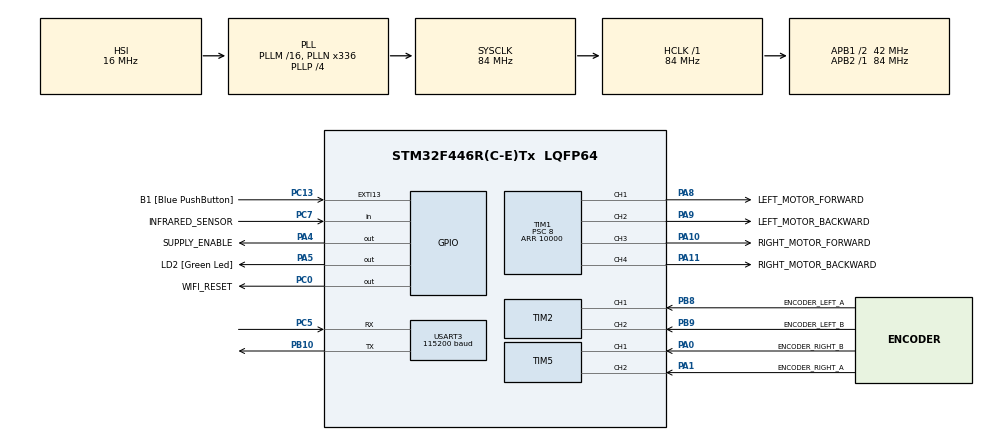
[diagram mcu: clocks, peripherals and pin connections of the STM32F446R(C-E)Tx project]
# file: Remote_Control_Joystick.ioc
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Mcu.Family=STM32F4
PH0-OSC_IN.Signal=RCC_OSC_IN
VP_SYS_VS_tim6.Mode=TIM6
Dma.USART3_RX.0.PeriphInc=DMA_PINC_DISABLE
SH.S_TIM1_CH4.0=TIM1_CH4,PWM Generation4 CH4
RCC.CortexFreq_Value=84000000
PB10.Mode=Asynchronous
NVIC.TIM6_DAC_IRQn=true\:0\:0\:false\:false\:true\:false\:false\:true
Dma.USART3_TX.1.MemInc=DMA_MINC_ENABLE
PA14.GPIO_Label=TCK
Dma.USART3_TX.1.PeriphDataAlignment=DMA_PDATAALIGN_BYTE
SH.S_TIM5_CH2.0=TIM5_CH2,Encoder_Interface
PC0.GPIO_Label=WIFI_RESET
Dma.USART3_TX.1.Instance=DMA1_Stream3
PC5.Mode=Asynchronous
PC13.GPIO_Label=B1 [Blue PushButton]
RCC.SYSCLKSource=RCC_SYSCLKSOURCE_PLLCLK
ProjectManager.StackSize=0x400
VP_FREERTOS_VS_CMSIS_V2.Mode=CMSIS_V2
TIM1.Prescaler=8
USART3.BaudRate=115200
TIM1.Channel-PWM\ Generation4\ CH4=TIM_CHANNEL_4
RCC.HCLKFreq_Value=84000000
RCC.APB2TimFreq_Value=84000000
TIM3.Period=1000-1
PC7.Signal=GPIO_Input
RCC.AHBFreq_Value=84000000
PH0-OSC_IN.Mode=HSE-External-Oscillator
RCC.HSE_VALUE=8000000
Dma.USART3_RX.0.MemDataAlignment=DMA_MDATAALIGN_BYTE
PA4.GPIO_PuPd=GPIO_NOPULL
Dma.USART3_TX.1.Mode=DMA_NORMAL
PC14-OSC32_IN.Mode=LSE-External-Oscillator
TIM1.Channel-PWM\ Generation1\ CH1=TIM_CHANNEL_1
PA14.Mode=Serial_Wire
TIM3.Prescaler=840-1
PA10.GPIO_Label=RIGHT_MOTOR_FORWARD
Dma.USART3_RX.0.PeriphDataAlignment=DMA_PDATAALIGN_BYTE
PC13.GPIO_PuPd=GPIO_NOPULL
Dma.USART3_RX.0.FIFOMode=DMA_FIFOMODE_DISABLE
PA8.Signal=S_TIM1_CH1
TIM5.IC1Filter=15
Dma.USART3_TX.1.FIFOMode=DMA_FIFOMODE_DISABLE
Dma.USART3_TX.1.Priority=DMA_PRIORITY_HIGH
RCC.FLatency-AdvancedSettings=FLASH_LATENCY_2
PH1-OSC_OUT.Mode=HSE-External-Oscillator
Dma.USART3_RX.0.Direction=DMA_PERIPH_TO_MEMORY
PB9.Signal=S_TIM2_CH2
Mcu.Package=LQFP64
NVIC.TimeBase=TIM6_DAC_IRQn
PA2.GPIO_Label=USART_TX
NVIC.TimeBaseIP=TIM6
PA10.Signal=S_TIM1_CH3
PA15.Signal=UART4_RTS
Dma.USART3_RX.0.MemInc=DMA_MINC_ENABLE
Dma.Request1=USART3_TX
RCC.APB1TimFreq_Value=84000000
SH.S_TIM5_CH1.0=TIM5_CH1,Encoder_Interface
PC5.Signal=USART3_RX
TIM1.Period=10000
Dma.USART3_TX.1.PeriphInc=DMA_PINC_DISABLE
PC0.GPIO_PuPd=GPIO_NOPULL
Dma.Request0=USART3_RX
PA4.GPIO_Label=SUPPLY_ENABLE
VP_TIM3_VS_ClockSourceINT.Mode=Internal
PA3.Signal=USART2_RX
PB3.GPIO_Label=SWO
Dma.USART3_RX.0.Instance=DMA1_Stream1
PC15-OSC32_OUT.Mode=LSE-External-Oscillator
Dma.USART3_TX.1.MemDataAlignment=DMA_MDATAALIGN_BYTE
TIM5.IC2Filter=15
FREERTOS.Tasks01=DiffDrive,48,128,MoveDifferentialDrive,Default,NULL,Dynamic,NULL,NULL;Communication,48,128,SerialCommunication,Default,NULL,Dynamic,NULL,NULL;InfraredSens,48,128,InfraredSensor,Default,NULL,Dynamic,NULL,NULL
PB9.GPIO_Label=ENCODER_LEFT_B
TIM2.IC1Filter=15
PC13.Signal=GPXTI13
PA9.GPIO_Label=LEFT_MOTOR_BACKWARD
PA11.GPIO_Label=RIGHT_MOTOR_BACKWARD
NVIC.DMA1_Stream1_IRQn=true\:5\:0\:false\:false\:true\:true\:false\:true
PC0.Signal=GPIO_Output
RCC.APB1CLKDivider=RCC_HCLK_DIV2
PC14-OSC32_IN.Signal=RCC_OSC32_IN
PA0-WKUP.GPIO_Label=ENCODER_RIGHT_B
Dma.USART3_RX.0.Mode=DMA_NORMAL
PA0-WKUP.Signal=S_TIM5_CH1
PA13.Signal=SYS_JTMS-SWDIO
PB8.GPIO_Label=ENCODER_LEFT_A
SH.S_TIM2_CH2.0=TIM2_CH2,Encoder_Interface
PA8.GPIO_Label=LEFT_MOTOR_FORWARD
SH.S_TIM1_CH1.0=TIM1_CH1,PWM Generation1 CH1
ProjectManager.TargetToolchain=STM32CubeIDE
PA9.Signal=S_TIM1_CH2
TIM1.Channel-PWM\ Generation2\ CH2=TIM_CHANNEL_2
RCC.USBFreq_Value=168000000
PC15-OSC32_OUT.Signal=RCC_OSC32_OUT
PA1.Signal=S_TIM5_CH2
PB10.Signal=USART3_TX
PA5.Signal=GPIO_Output
board=NUCLEO-F446RE
RCC.VCOOutputFreq_Value=336000000
NVIC.TIM3_IRQn=true\:5\:0\:false\:false\:true\:true\:true\:true
RCC.APB2Freq_Value=84000000
SH.S_TIM1_CH2.0=TIM1_CH2,PWM Generation2 CH2
PA1.GPIO_Label=ENCODER_RIGHT_A
PH1-OSC_OUT.Signal=RCC_OSC_OUT
PA13.Mode=Serial_Wire
Mcu.Name=STM32F446R(C-E)Tx
PA13.GPIO_Label=TMS
PA2.Signal=USART2_TX
PC7.GPIO_Label=INFRARED_SENSOR
RCC.48MHZClocksFreq_Value=84000000
PB3.Signal=SYS_JTDO-SWO
PA4.Signal=GPIO_Output
RCC.SYSCLKFreq_VALUE=84000000
Dma.USART3_RX.0.Priority=DMA_PRIORITY_HIGH
PA5.GPIO_Label=LD2 [Green Led]
PC13.GPIO_ModeDefaultEXTI=GPIO_MODE_IT_FALLING
USART3.VirtualMode=VM_ASYNC
PA11.Signal=S_TIM1_CH4
SH.S_TIM2_CH1_ETR.0=TIM2_CH1,Encoder_Interface
PA14.Signal=SYS_JTCK-SWCLK
ProjectManager.HeapSize=0x200
SH.S_TIM1_CH3.0=TIM1_CH3,PWM Generation3 CH3
RCC.HSI_VALUE=16000000
RCC.PLLP=RCC_PLLP_DIV4
NVIC.PriorityGroup=NVIC_PRIORITYGROUP_4
Dma.USART3_TX.1.Direction=DMA_MEMORY_TO_PERIPH
RCC.PLLN=336
PB8.Signal=S_TIM2_CH1_ETR
NVIC.DMA1_Stream3_IRQn=true\:5\:0\:false\:false\:true\:true\:false\:true
TIM1.Channel-PWM\ Generation3\ CH3=TIM_CHANNEL_3
RCC.APB1Freq_Value=42000000
TIM2.IC2Filter=15
PA3.GPIO_Label=USART_RX

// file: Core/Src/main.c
/* USER CODE BEGIN Header */
/**
  ******************************************************************************
  * @file           : main.c
  * @brief          : Main program body
  ******************************************************************************
  * @attention
  *
  * <h2><center>&copy; Copyright (c) 2021 STMicroelectronics.
  * All rights reserved.</center></h2>
  *
  * This software component is licensed by ST under BSD 3-Clause license,
  * the "License"; You may not use this file except in compliance with the
  * License. You may obtain a copy of the License at:
  *                        opensource.org/licenses/BSD-3-Clause
  *
  ******************************************************************************
  */
/* USER CODE END Header */
#include "main.h"
#include "cmsis_os.h"

/* USER CODE BEGIN Includes */

#include "my_lib/differential_drive.h"
#include "my_lib/retarget.h"
#include "my_lib/datastream.h"
#include "my_lib/datastream_utils.h"
#include "my_lib/digital_filters.h"

#include "my_data/identification.h"

#include <stdio.h>
#include <stdlib.h>

/* USER CODE END Includes */

TIM_HandleTypeDef htim1;
TIM_HandleTypeDef htim2;
TIM_HandleTypeDef htim3;
TIM_HandleTypeDef htim5;

UART_HandleTypeDef huart3;
DMA_HandleTypeDef hdma_usart3_rx;
DMA_HandleTypeDef hdma_usart3_tx;

/* Definitions for DiffDrive */
osThreadId_t DiffDriveHandle;
const osThreadAttr_t DiffDrive_attributes = {
  .name = "DiffDrive",
  .stack_size = 128 * 4,
  .priority = (osPriority_t) osPriorityRealtime,
};
/* Definitions for Communication */
osThreadId_t CommunicationHandle;
const osThreadAttr_t Communication_attributes = {
  .name = "Communication",
  .stack_size = 128 * 4,
  .priority = (osPriority_t) osPriorityRealtime,
};
/* Definitions for InfraredSens */
osThreadId_t InfraredSensHandle;
const osThreadAttr_t InfraredSens_attributes = {
  .name = "InfraredSens",
  .stack_size = 128 * 4,
  .priority = (osPriority_t) osPriorityRealtime,
};
/* USER CODE BEGIN PV */

DIFFDRIVE_HandleTypeDef hdiffdrive;
MAF_HandleTypeDef hfilter_a, hfilter_th, hfilter_infrared;

/* USER CODE END PV */

void SystemClock_Config(void);
static void MX_GPIO_Init(void);
static void MX_DMA_Init(void);
static void MX_TIM2_Init(void);
static void MX_TIM1_Init(void);
static void MX_TIM3_Init(void);
static void MX_TIM5_Init(void);
static void MX_USART3_UART_Init(void);
void MoveDifferentialDrive(void *argument);
void SerialCommunication(void *argument);
void InfraredSensor(void *argument);

/* USER CODE BEGIN PFP */

static void MAIN_DIFFDRIVE_Init(void);
static void MAIN_MAF_Init(void);

/* USER CODE END PFP */

/* USER CODE BEGIN 0 */

int x_val=0, y_val=0, x_val_prev=0, y_val_prev=0;

/* USER CODE END 0 */

int main(void)
{

  /* MCU Configuration--------------------------------------------------------*/

  /* Reset of all peripherals, Initializes the Flash interface and the Systick. */
  HAL_Init();

  /* Configure the system clock */
  SystemClock_Config();

  /* Initialize all configured peripherals */
  MX_GPIO_Init();
  MX_DMA_Init();
  MX_TIM2_Init();
  MX_TIM1_Init();
  MX_TIM3_Init();
  MX_TIM5_Init();
  MX_USART3_UART_Init();
  /* USER CODE BEGIN 2 */

  MAIN_DIFFDRIVE_Init();
  MAIN_MAF_Init();

  // Using the flag "wait_button" to start MCU with WIFI disabled
  // if blue button is pressed during reset. It's useful to avoid
  // battery leakage
  bool wait_for_button= false;
  if( !HAL_GPIO_ReadPin(B1_GPIO_Port, B1_Pin) ){
   	wait_for_button= true;
   	// Show pressed button
   	while( !HAL_GPIO_ReadPin(B1_GPIO_Port, B1_Pin) ){
   		HAL_GPIO_TogglePin(LD2_GPIO_Port, LD2_Pin);
   		HAL_Delay(50);
   	}
   	// Turn off LED
   	HAL_GPIO_WritePin(LD2_GPIO_Port, LD2_Pin, GPIO_PIN_RESET);
   	// Debouncing released button
   	HAL_Delay(1000);
  }

  // Reset ESP-8266
  HAL_GPIO_WritePin(WIFI_RESET_GPIO_Port, WIFI_RESET_Pin, GPIO_PIN_RESET);

  // Wait for blue button if this option is on
  if( wait_for_button )
	  while( HAL_GPIO_ReadPin(B1_GPIO_Port, B1_Pin) )
		  	  ;

  HAL_Delay(1000);

  // Start ESP
  HAL_GPIO_WritePin(WIFI_RESET_GPIO_Port, WIFI_RESET_Pin, GPIO_PIN_SET);

  // Wait a bit for ESP initialization
  HAL_Delay(3000);

  // Keep LED on to show that data transfer is down
  HAL_GPIO_WritePin(LD2_GPIO_Port, LD2_Pin, GPIO_PIN_RESET);

  /* USER CODE END 2 */

  /* Init scheduler */
  osKernelInitialize();

  /* Create the thread(s) */
  /* creation of DiffDrive */
  DiffDriveHandle = osThreadNew(MoveDifferentialDrive, NULL, &DiffDrive_attributes);

  /* creation of Communication */
  CommunicationHandle = osThreadNew(SerialCommunication, NULL, &Communication_attributes);

  /* creation of InfraredSens */
  InfraredSensHandle = osThreadNew(InfraredSensor, NULL, &InfraredSens_attributes);

  /* Start scheduler */
  osKernelStart();

  /* We should never get here as control is now taken by the scheduler */
  /* Infinite loop */
  while (1)
  {

  }
}

void SystemClock_Config(void)
{
  RCC_OscInitTypeDef RCC_OscInitStruct = {0};
  RCC_ClkInitTypeDef RCC_ClkInitStruct = {0};

  /** Configure the main internal regulator output voltage
  */
  __HAL_RCC_PWR_CLK_ENABLE();
  __HAL_PWR_VOLTAGESCALING_CONFIG(PWR_REGULATOR_VOLTAGE_SCALE3);
  /** Initializes the RCC Oscillators according to the specified parameters
  * in the RCC_OscInitTypeDef structure.
  */
  RCC_OscInitStruct.OscillatorType = RCC_OSCILLATORTYPE_HSI;
  RCC_OscInitStruct.HSIState = RCC_HSI_ON;
  RCC_OscInitStruct.HSICalibrationValue = RCC_HSICALIBRATION_DEFAULT;
  RCC_OscInitStruct.PLL.PLLState = RCC_PLL_ON;
  RCC_OscInitStruct.PLL.PLLSource = RCC_PLLSOURCE_HSI;
  RCC_OscInitStruct.PLL.PLLM = 16;
  RCC_OscInitStruct.PLL.PLLN = 336;
  RCC_OscInitStruct.PLL.PLLP = RCC_PLLP_DIV4;
  RCC_OscInitStruct.PLL.PLLQ = 2;
  RCC_OscInitStruct.PLL.PLLR = 2;
  if (HAL_RCC_OscConfig(&RCC_OscInitStruct) != HAL_OK)
  {
    Error_Handler();
  }
  /** Initializes the CPU, AHB and APB buses clocks
  */
  RCC_ClkInitStruct.ClockType = RCC_CLOCKTYPE_HCLK|RCC_CLOCKTYPE_SYSCLK
                              |RCC_CLOCKTYPE_PCLK1|RCC_CLOCKTYPE_PCLK2;
  RCC_ClkInitStruct.SYSCLKSource = RCC_SYSCLKSOURCE_PLLCLK;
  RCC_ClkInitStruct.AHBCLKDivider = RCC_SYSCLK_DIV1;
  RCC_ClkInitStruct.APB1CLKDivider = RCC_HCLK_DIV2;
  RCC_ClkInitStruct.APB2CLKDivider = RCC_HCLK_DIV1;

  if (HAL_RCC_ClockConfig(&RCC_ClkInitStruct, FLASH_LATENCY_2) != HAL_OK)
  {
    Error_Handler();
  }
}

static void MX_TIM1_Init(void)
{

  TIM_MasterConfigTypeDef sMasterConfig = {0};
  TIM_OC_InitTypeDef sConfigOC = {0};
  TIM_BreakDeadTimeConfigTypeDef sBreakDeadTimeConfig = {0};

  htim1.Instance = TIM1;
  htim1.Init.Prescaler = 8;
  htim1.Init.CounterMode = TIM_COUNTERMODE_UP;
  htim1.Init.Period = 10000;
  htim1.Init.ClockDivision = TIM_CLOCKDIVISION_DIV1;
  htim1.Init.RepetitionCounter = 0;
  htim1.Init.AutoReloadPreload = TIM_AUTORELOAD_PRELOAD_DISABLE;
  if (HAL_TIM_PWM_Init(&htim1) != HAL_OK)
  {
    Error_Handler();
  }
  sMasterConfig.MasterOutputTrigger = TIM_TRGO_RESET;
  sMasterConfig.MasterSlaveMode = TIM_MASTERSLAVEMODE_DISABLE;
  if (HAL_TIMEx_MasterConfigSynchronization(&htim1, &sMasterConfig) != HAL_OK)
  {
    Error_Handler();
  }
  sConfigOC.OCMode = TIM_OCMODE_PWM1;
  sConfigOC.Pulse = 0;
  sConfigOC.OCPolarity = TIM_OCPOLARITY_HIGH;
  sConfigOC.OCNPolarity = TIM_OCNPOLARITY_HIGH;
  sConfigOC.OCFastMode = TIM_OCFAST_DISABLE;
  sConfigOC.OCIdleState = TIM_OCIDLESTATE_RESET;
  sConfigOC.OCNIdleState = TIM_OCNIDLESTATE_RESET;
  if (HAL_TIM_PWM_ConfigChannel(&htim1, &sConfigOC, TIM_CHANNEL_1) != HAL_OK)
  {
    Error_Handler();
  }
  if (HAL_TIM_PWM_ConfigChannel(&htim1, &sConfigOC, TIM_CHANNEL_2) != HAL_OK)
  {
    Error_Handler();
  }
  if (HAL_TIM_PWM_ConfigChannel(&htim1, &sConfigOC, TIM_CHANNEL_3) != HAL_OK)
  {
    Error_Handler();
  }
  if (HAL_TIM_PWM_ConfigChannel(&htim1, &sConfigOC, TIM_CHANNEL_4) != HAL_OK)
  {
    Error_Handler();
  }
  sBreakDeadTimeConfig.OffStateRunMode = TIM_OSSR_DISABLE;
  sBreakDeadTimeConfig.OffStateIDLEMode = TIM_OSSI_DISABLE;
  sBreakDeadTimeConfig.LockLevel = TIM_LOCKLEVEL_OFF;
  sBreakDeadTimeConfig.DeadTime = 0;
  sBreakDeadTimeConfig.BreakState = TIM_BREAK_DISABLE;
  sBreakDeadTimeConfig.BreakPolarity = TIM_BREAKPOLARITY_HIGH;
  sBreakDeadTimeConfig.AutomaticOutput = TIM_AUTOMATICOUTPUT_DISABLE;
  if (HAL_TIMEx_ConfigBreakDeadTime(&htim1, &sBreakDeadTimeConfig) != HAL_OK)
  {
    Error_Handler();
  }
  HAL_TIM_MspPostInit(&htim1);

}

static void MX_TIM2_Init(void)
{

  TIM_Encoder_InitTypeDef sConfig = {0};
  TIM_MasterConfigTypeDef sMasterConfig = {0};

  htim2.Instance = TIM2;
  htim2.Init.Prescaler = 0;
  htim2.Init.CounterMode = TIM_COUNTERMODE_UP;
  htim2.Init.Period = 4294967295;
  htim2.Init.ClockDivision = TIM_CLOCKDIVISION_DIV1;
  htim2.Init.AutoReloadPreload = TIM_AUTORELOAD_PRELOAD_DISABLE;
  sConfig.EncoderMode = TIM_ENCODERMODE_TI1;
  sConfig.IC1Polarity = TIM_ICPOLARITY_RISING;
  sConfig.IC1Selection = TIM_ICSELECTION_DIRECTTI;
  sConfig.IC1Prescaler = TIM_ICPSC_DIV1;
  sConfig.IC1Filter = 15;
  sConfig.IC2Polarity = TIM_ICPOLARITY_RISING;
  sConfig.IC2Selection = TIM_ICSELECTION_DIRECTTI;
  sConfig.IC2Prescaler = TIM_ICPSC_DIV1;
  sConfig.IC2Filter = 15;
  if (HAL_TIM_Encoder_Init(&htim2, &sConfig) != HAL_OK)
  {
    Error_Handler();
  }
  sMasterConfig.MasterOutputTrigger = TIM_TRGO_RESET;
  sMasterConfig.MasterSlaveMode = TIM_MASTERSLAVEMODE_DISABLE;
  if (HAL_TIMEx_MasterConfigSynchronization(&htim2, &sMasterConfig) != HAL_OK)
  {
    Error_Handler();
  }

}

static void MX_TIM3_Init(void)
{

  TIM_ClockConfigTypeDef sClockSourceConfig = {0};
  TIM_MasterConfigTypeDef sMasterConfig = {0};

  htim3.Instance = TIM3;
  htim3.Init.Prescaler = 840-1;
  htim3.Init.CounterMode = TIM_COUNTERMODE_UP;
  htim3.Init.Period = 1000-1;
  htim3.Init.ClockDivision = TIM_CLOCKDIVISION_DIV1;
  htim3.Init.AutoReloadPreload = TIM_AUTORELOAD_PRELOAD_DISABLE;
  if (HAL_TIM_Base_Init(&htim3) != HAL_OK)
  {
    Error_Handler();
  }
  sClockSourceConfig.ClockSource = TIM_CLOCKSOURCE_INTERNAL;
  if (HAL_TIM_ConfigClockSource(&htim3, &sClockSourceConfig) != HAL_OK)
  {
    Error_Handler();
  }
  sMasterConfig.MasterOutputTrigger = TIM_TRGO_RESET;
  sMasterConfig.MasterSlaveMode = TIM_MASTERSLAVEMODE_DISABLE;
  if (HAL_TIMEx_MasterConfigSynchronization(&htim3, &sMasterConfig) != HAL_OK)
  {
    Error_Handler();
  }

}

static void MX_TIM5_Init(void)
{

  TIM_Encoder_InitTypeDef sConfig = {0};
  TIM_MasterConfigTypeDef sMasterConfig = {0};

  htim5.Instance = TIM5;
  htim5.Init.Prescaler = 0;
  htim5.Init.CounterMode = TIM_COUNTERMODE_UP;
  htim5.Init.Period = 4294967295;
  htim5.Init.ClockDivision = TIM_CLOCKDIVISION_DIV1;
  htim5.Init.AutoReloadPreload = TIM_AUTORELOAD_PRELOAD_DISABLE;
  sConfig.EncoderMode = TIM_ENCODERMODE_TI1;
  sConfig.IC1Polarity = TIM_ICPOLARITY_RISING;
  sConfig.IC1Selection = TIM_ICSELECTION_DIRECTTI;
  sConfig.IC1Prescaler = TIM_ICPSC_DIV1;
  sConfig.IC1Filter = 15;
  sConfig.IC2Polarity = TIM_ICPOLARITY_RISING;
  sConfig.IC2Selection = TIM_ICSELECTION_DIRECTTI;
  sConfig.IC2Prescaler = TIM_ICPSC_DIV1;
  sConfig.IC2Filter = 15;
  if (HAL_TIM_Encoder_Init(&htim5, &sConfig) != HAL_OK)
  {
    Error_Handler();
  }
  sMasterConfig.MasterOutputTrigger = TIM_TRGO_RESET;
  sMasterConfig.MasterSlaveMode = TIM_MASTERSLAVEMODE_DISABLE;
  if (HAL_TIMEx_MasterConfigSynchronization(&htim5, &sMasterConfig) != HAL_OK)
  {
    Error_Handler();
  }

}

static void MX_USART3_UART_Init(void)
{

  huart3.Instance = USART3;
  huart3.Init.BaudRate = 115200;
  huart3.Init.WordLength = UART_WORDLENGTH_8B;
  huart3.Init.StopBits = UART_STOPBITS_1;
  huart3.Init.Parity = UART_PARITY_NONE;
  huart3.Init.Mode = UART_MODE_TX_RX;
  huart3.Init.HwFlowCtl = UART_HWCONTROL_NONE;
  huart3.Init.OverSampling = UART_OVERSAMPLING_16;
  if (HAL_UART_Init(&huart3) != HAL_OK)
  {
    Error_Handler();
  }

}

static void MX_DMA_Init(void)
{

  /* DMA controller clock enable */
  __HAL_RCC_DMA1_CLK_ENABLE();

  /* DMA interrupt init */
  /* DMA1_Stream1_IRQn interrupt configuration */
  HAL_NVIC_SetPriority(DMA1_Stream1_IRQn, 5, 0);
  HAL_NVIC_EnableIRQ(DMA1_Stream1_IRQn);
  /* DMA1_Stream3_IRQn interrupt configuration */
  HAL_NVIC_SetPriority(DMA1_Stream3_IRQn, 5, 0);
  HAL_NVIC_EnableIRQ(DMA1_Stream3_IRQn);

}

static void MX_GPIO_Init(void)
{
  GPIO_InitTypeDef GPIO_InitStruct = {0};

  /* GPIO Ports Clock Enable */
  __HAL_RCC_GPIOC_CLK_ENABLE();
  __HAL_RCC_GPIOH_CLK_ENABLE();
  __HAL_RCC_GPIOA_CLK_ENABLE();
  __HAL_RCC_GPIOB_CLK_ENABLE();

  /*Configure GPIO pin Output Level */
  HAL_GPIO_WritePin(WIFI_RESET_GPIO_Port, WIFI_RESET_Pin, GPIO_PIN_RESET);

  /*Configure GPIO pin Output Level */
  HAL_GPIO_WritePin(GPIOA, SUPPLY_ENABLE_Pin|LD2_Pin, GPIO_PIN_RESET);

  /*Configure GPIO pin : B1_Pin */
  GPIO_InitStruct.Pin = B1_Pin;
  GPIO_InitStruct.Mode = GPIO_MODE_IT_FALLING;
  GPIO_InitStruct.Pull = GPIO_NOPULL;
  HAL_GPIO_Init(B1_GPIO_Port, &GPIO_InitStruct);

  /*Configure GPIO pin : WIFI_RESET_Pin */
  GPIO_InitStruct.Pin = WIFI_RESET_Pin;
  GPIO_InitStruct.Mode = GPIO_MODE_OUTPUT_PP;
  GPIO_InitStruct.Pull = GPIO_NOPULL;
  GPIO_InitStruct.Speed = GPIO_SPEED_FREQ_LOW;
  HAL_GPIO_Init(WIFI_RESET_GPIO_Port, &GPIO_InitStruct);

  /*Configure GPIO pins : USART_TX_Pin USART_RX_Pin */
  GPIO_InitStruct.Pin = USART_TX_Pin|USART_RX_Pin;
  GPIO_InitStruct.Mode = GPIO_MODE_AF_PP;
  GPIO_InitStruct.Pull = GPIO_NOPULL;
  GPIO_InitStruct.Speed = GPIO_SPEED_FREQ_VERY_HIGH;
  GPIO_InitStruct.Alternate = GPIO_AF7_USART2;
  HAL_GPIO_Init(GPIOA, &GPIO_InitStruct);

  /*Configure GPIO pins : SUPPLY_ENABLE_Pin LD2_Pin */
  GPIO_InitStruct.Pin = SUPPLY_ENABLE_Pin|LD2_Pin;
  GPIO_InitStruct.Mode = GPIO_MODE_OUTPUT_PP;
  GPIO_InitStruct.Pull = GPIO_NOPULL;
  GPIO_InitStruct.Speed = GPIO_SPEED_FREQ_LOW;
  HAL_GPIO_Init(GPIOA, &GPIO_InitStruct);

  /*Configure GPIO pin : INFRARED_SENSOR_Pin */
  GPIO_InitStruct.Pin = INFRARED_SENSOR_Pin;
  GPIO_InitStruct.Mode = GPIO_MODE_INPUT;
  GPIO_InitStruct.Pull = GPIO_NOPULL;
  HAL_GPIO_Init(INFRARED_SENSOR_GPIO_Port, &GPIO_InitStruct);

  /*Configure GPIO pin : PA15 */
  GPIO_InitStruct.Pin = GPIO_PIN_15;
  GPIO_InitStruct.Mode = GPIO_MODE_AF_PP;
  GPIO_InitStruct.Pull = GPIO_NOPULL;
  GPIO_InitStruct.Speed = GPIO_SPEED_FREQ_VERY_HIGH;
  GPIO_InitStruct.Alternate = GPIO_AF8_UART4;
  HAL_GPIO_Init(GPIOA, &GPIO_InitStruct);

}

/* USER CODE BEGIN 4 */

static void MAIN_DIFFDRIVE_Init(void){

	float Ts= 0.01;
	int max_sample= 1400;

	hdiffdrive.Init.timing_htim= &htim3;
	hdiffdrive.Init.timing_time_step= Ts;

	hdiffdrive.Init.encoder_htim[left ]= &htim2;
	hdiffdrive.Init.encoder_htim[right]= &htim5;
	hdiffdrive.Init.encoder_channel[left ]= TIM_CHANNEL_1;
	hdiffdrive.Init.encoder_channel[right]= TIM_CHANNEL_1;

	hdiffdrive.Init.encoder_resolution[left ]= 1900; //1920; // Number of step each wheel revolution
	hdiffdrive.Init.encoder_resolution[right]= 1900; //1920;

	hdiffdrive.Init.motor_htim[left ][forward ]= &htim1;
	hdiffdrive.Init.motor_htim[left ][backward]= &htim1;
	hdiffdrive.Init.motor_htim[right][forward ]= &htim1;
	hdiffdrive.Init.motor_htim[right][backward]= &htim1;

	hdiffdrive.Init.motor_pwm_channel[left ][forward ]= TIM_CHANNEL_1;
	hdiffdrive.Init.motor_pwm_channel[left ][backward]= TIM_CHANNEL_2;
	hdiffdrive.Init.motor_pwm_channel[right][forward ]= TIM_CHANNEL_3;
	hdiffdrive.Init.motor_pwm_channel[right][backward]= TIM_CHANNEL_4;

	hdiffdrive.Init.motor_max_voltage[left ]= 	  MOTOR_MAX_VOLTAGE;
	hdiffdrive.Init.motor_max_voltage[right]= 	  MOTOR_MAX_VOLTAGE;
	hdiffdrive.Init.motor_min_voltage[left ]= 	  MOTOR_MIN_VOLTAGE;
	hdiffdrive.Init.motor_min_voltage[right]= 	  MOTOR_MIN_VOLTAGE;
	hdiffdrive.Init.motor_supply_voltage[left]=   SUPPLY_VOLTAGE;
	hdiffdrive.Init.motor_supply_voltage[right]=  SUPPLY_VOLTAGE;

	hdiffdrive.Init.control_fdfrwrd_arma_AR[left ]= AR_L;
	hdiffdrive.Init.control_fdfrwrd_arma_AR[right]= AR_R;
	hdiffdrive.Init.control_fdfrwrd_arma_MA[left ]= MA_L;
	hdiffdrive.Init.control_fdfrwrd_arma_MA[right]= MA_R;
	hdiffdrive.Init.control_fdfrwrd_arma_n_ar[left ]= N_AR_L;
	hdiffdrive.Init.control_fdfrwrd_arma_n_ar[right]= N_AR_R;
	hdiffdrive.Init.control_fdfrwrd_arma_n_ma[left ]= N_MA_L;
	hdiffdrive.Init.control_fdfrwrd_arma_n_ma[right]= N_MA_R;
	hdiffdrive.Init.control_fdfrwrd_arma_tau[left ]= TAU_L;
	hdiffdrive.Init.control_fdfrwrd_arma_tau[right]= TAU_R;

	hdiffdrive.Init.control_pid_P[left ]= 40;  //33.3;
	hdiffdrive.Init.control_pid_P[right]= 40;  //33.3;
	hdiffdrive.Init.control_pid_I[left ]= 8;   //7.6;
	hdiffdrive.Init.control_pid_I[right]= 8;   //7.6;
	hdiffdrive.Init.control_pid_D[left ]= 0;
	hdiffdrive.Init.control_pid_D[right]= 0;

	hdiffdrive.Init.history_max_sample= max_sample;

	hdiffdrive.Init.mech_prmtr_l=               0.155/2;
	hdiffdrive.Init.mech_prmtr_r=               0.069/2;
	hdiffdrive.Init.mech_prmtr_max_wheel_speed= 16;      // 16 rad/s, from DC motor specifics

	DIFFDRIVE_Init(&hdiffdrive);

}

// Moving Average Filter initialization --------------------------------------------- //
static void MAIN_MAF_Init(void){

	int filtr_a_size= 		 60;
	int filtr_th_size=		 60;
	int filtr_infrared_size= 100;
	// Null pointer to use a MAF without weights
	void* weights_buff= NULL;

	// Creating filters
	hfilter_a  = MAF_Create(filtr_a_size,  weights_buff);
	hfilter_th = MAF_Create(filtr_th_size, weights_buff);
	hfilter_infrared = MAF_Create(filtr_infrared_size, weights_buff);

}

/* USER CODE END 4 */

void MoveDifferentialDrive(void *argument)
{
  /* USER CODE BEGIN 5 */
	float delta_a, delta_th;
	float delta_a_max= 3.8e-3, delta_th_max= 4e-2, delta_a_max_curr;

	float IR_val;

	bool stop_flag= true;

	/* Infinite loop */
	for(;;){

		if( delta_th > 0 )
			delta_a_max_curr= delta_a_max * (1-delta_th/delta_th_max*0.5);
		else
			delta_a_max_curr= delta_a_max * (1+delta_th/delta_th_max*0.5);

		if( x_val != 0 || y_val != 0  ){

			delta_a  = (float)x_val/512 * delta_a_max_curr;
			delta_th = (float)y_val/512 * delta_th_max;

			if( stop_flag ){
				DIFFDRIVE_TrackingStart();
				stop_flag= false;
			}
		}
		else{
			DIFFDRIVE_TrackingStop();
			MAF_Reset(&hfilter_a, 0);
			MAF_Reset(&hfilter_th, 0);

			stop_flag= true;

			delta_a=  0;
			delta_th= 0;
		}

		// Update filters
		MAF_Update(&hfilter_a,  delta_a);
		MAF_Update(&hfilter_th, delta_th);

		// Get current values
		delta_a=  __MAF_GET_VAL(&hfilter_a);
		delta_th= __MAF_GET_VAL(&hfilter_th);

		// Infrared sensor value
		IR_val = __MAF_GET_VAL(&hfilter_infrared);

		// If IR_val == 0 delta_a = 0
		if( delta_a > 0 && IR_val < 0.5 )
			delta_a = 0;

		// Make step control
		if( !stop_flag )
			DIFFDRIVE_TrackingStep(delta_a, delta_th);

	}
  /* USER CODE END 5 */
}

/* USER CODE BEGIN Header_SerialCommunication */
/**
* @brief Function implementing the Communication thread.
* @param argument: Not used
* @retval None
*/

volatile bool data_received= false;
void UART_RxCpltCallback(UART_HandleTypeDef *huart){
	data_received = true;
}
/*
volatile bool data_transmitted= false;
void UART_TxCpltCallback(UART_HandleTypeDef *huart){
	data_transmitted = true;
}
*/
/* USER CODE END Header_SerialCommunication */
void SerialCommunication(void *argument)
{
  /* USER CODE BEGIN SerialCommunication */
	/* Infinite loop */

	// Values threshold
	int val_thres= 10;

	// Assign uart Rx complete callback (function defined above in this file)
	huart3.RxCpltCallback= UART_RxCpltCallback;
//	huart3.TxCpltCallback= UART_TxCpltCallback;

	uint8_t data[20];
	char tmp_str_1[5], tmp_str_2[5];
/*
	tmp_str_1[0]= 'c';
	data_transmitted= false;
	HAL_UART_Transmit_DMA(&huart3, (uint8_t*)tmp_str_1, sizeof(tmp_str_1));
	while( !data_transmitted )
		__NOP();
*/
	// Wait for a good input
	data[0]= '\0';
	bool bad_input= true;
	while( bad_input ){
		data_received= false;
		HAL_UART_Receive_DMA(&huart3, data, sizeof(data));
		while( !data_received )
			__NOP();
		for(char ch=48; ch<58; ch++ )
			if( data[0] == ch ){
				bad_input= false;
				break;
			}
		if( bad_input && (data[0] == 's' || data[0] == 'e' || data[0] == ' ') )
			bad_input= false;
	}

	// LED off to show that data transfer is up
	HAL_GPIO_WritePin(LD2_GPIO_Port, LD2_Pin, GPIO_PIN_RESET);

	// Measure time
	uint32_t tic= osKernelGetTickCount();
	uint32_t toc;

	for(;;){

		if( data_received ){

			// Find message packet start index (where the 's' char is)
			int start_idx;
			for(start_idx= 0; data[start_idx] != 's'; start_idx++)
				;

			// Read message
			for(int i=start_idx+1; i<start_idx+5; i++)
				tmp_str_1[i-(1+start_idx)] = data[i];
			tmp_str_1[4]= '\0';
			for(int i=start_idx+5; i<start_idx+9; i++)
				tmp_str_2[i-(5+start_idx)] = data[i];
			tmp_str_2[4]= '\0';

			// Convert in integer values
			x_val= (float)atoi((char*) tmp_str_1);
			y_val= (float)atoi((char*) tmp_str_2);

			// Convert values from 0 to 1023 to about -512 to 512 (values are generated from a joystick,
			// connected to an Arduino with a 10 bit resolution ADC)
			x_val= -(1023-x_val-512+1); // Inverted values
			y_val=  (1023-y_val-512+9);

			// Set zero values below a threshold to reject noise
			if( abs(x_val) < val_thres )
				x_val= 0;
			if( abs(y_val) < val_thres )
				y_val= 0;

			// Ready for new messages
			data_received= false;
			HAL_UART_Receive_DMA(&huart3, data, sizeof(data));

			tic= osKernelGetTickCount();

		}

		// If data aren't received for a period of time
		if( (toc= osKernelGetTickCount()-tic) > 1000 ){
			// Set values to zero
			x_val= 0;
			y_val= 0;

			osDelay(100);

			// Suspend other thread
			osThreadSuspend(DiffDriveHandle);

			HAL_GPIO_WritePin(LD2_GPIO_Port, LD2_Pin, GPIO_PIN_RESET);

			// Reset uart Rx and DMA interrupt
			HAL_NVIC_DisableIRQ(DMA1_Stream1_IRQn);
			huart3.RxState= HAL_UART_STATE_READY;
			HAL_NVIC_EnableIRQ(DMA1_Stream1_IRQn);

			// Start a new DMA receiving request
			HAL_UART_Receive_DMA(&huart3, data, sizeof(data));

			// Wait for input
			while( !data_received ){
				// If more time elapses, without data, reset system
				if( (osKernelGetTickCount()-tic) > 6*toc ){

					// Reset MCU
					HAL_NVIC_SystemReset();

				}
			}

			osDelay(1000);
			HAL_GPIO_WritePin(LD2_GPIO_Port, LD2_Pin, GPIO_PIN_SET);

			// Resume other thread
			osThreadResume(DiffDriveHandle);

		}

	}

  /* USER CODE END SerialCommunication */
}

void InfraredSensor(void *argument)
{
  /* USER CODE BEGIN InfraredSensor */

  int sens=0, k=0;
  (void) k;

  /* Infinite loop */
  for(;;)
  {
	  sens= HAL_GPIO_ReadPin(INFRARED_SENSOR_GPIO_Port, INFRARED_SENSOR_Pin);

	  MAF_Update(&hfilter_infrared, sens);

	  osDelay(1);
  }
  /* USER CODE END InfraredSensor */
}

 /**
  * @brief  Period elapsed callback in non blocking mode
  * @note   This function is called  when TIM6 interrupt took place, inside
  * HAL_TIM_IRQHandler(). It makes a direct call to HAL_IncTick() to increment
  * a global variable "uwTick" used as application time base.
  * @param  htim : TIM handle
  * @retval None
  */
void HAL_TIM_PeriodElapsedCallback(TIM_HandleTypeDef *htim)
{
  if (htim->Instance == TIM6) {
    HAL_IncTick();
  }
}

void Error_Handler(void)
{
  __disable_irq();
  while (1)
  {
  }
}

/************************ (C) COPYRIGHT STMicroelectronics *****END OF FILE****/
